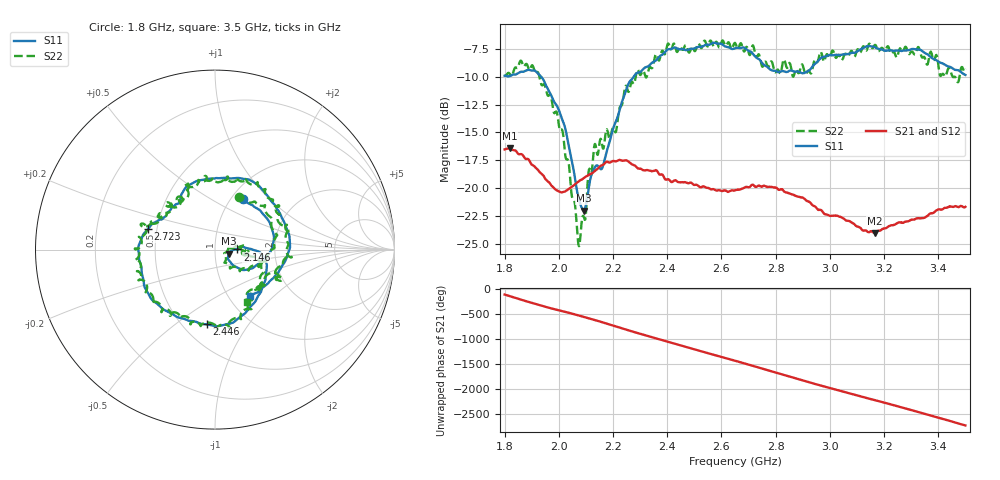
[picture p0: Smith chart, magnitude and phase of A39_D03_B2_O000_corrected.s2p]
! Created with skrf 1.9.0 (http://scikit-rf.org).
# Hz S RI R 50.0
!freq ReS11 ImS11 ReS21 ImS21 ReS12 ImS12 ReS22 ImS22
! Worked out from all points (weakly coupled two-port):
!   1601 points, 1.8 GHz to 3.5 GHz, reference 50 ohm
!   highest |S21| = -16.43 dB at 1.818 GHz (marker M1); lowest = -24.0 dB at 3.165 GHz (marker M2)
!   lowest |S11| = -22.0 dB at 2.092 GHz (marker M3), VSWR 1.17, Z = 58.2 - j2.69 ohm
!   |S11| at or under -10 dB: 1.935 GHz to 2.276 GHz (341.2 MHz wide, 16.2 % of centre)
!   |S22| runs from -25.2 to -6.7 dB; largest |S21 - S12| = 0.0027
!   S11 on the Smith chart (normalised r, x): 1.8 GHz: 1.13, +0.70; 2.146 GHz: 1.29, +0.00; 2.446 GHz: 0.65, -0.66; 2.723 GHz: 0.45, +0.12; 3.5 GHz: 1.26, -0.72
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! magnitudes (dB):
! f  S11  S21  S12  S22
! 1.8 GHz  -9.9  -16.5  -16.5  -9.9
! 1.818 GHz  -10.0  -16.4  -16.4  -9.7
! 1.903 GHz  -9.5  -17.9  -17.9  -9.0
! 1.968 GHz  -11.5  -19.6  -19.6  -11.6
! 2.015 GHz  -14.0  -20.3  -20.4  -15.0
! 2.072 GHz  -20.8  -19.4  -19.4  -25.0
! 2.084 GHz  -21.7  -19.2  -19.2  -23.2
! 2.092 GHz  -22.0  -19.1  -19.1  -22.6
! 2.112 GHz  -19.6  -18.8  -18.8  -18.3
! 2.146 GHz  -18.0  -18.2  -18.2  -16.7
! 2.209 GHz  -14.1  -17.6  -17.5  -15.0
! 2.259 GHz  -10.5  -17.6  -17.7  -11.3
! 2.367 GHz  -8.3  -18.6  -18.6  -8.5
! 2.446 GHz  -7.6  -19.5  -19.5  -7.3
! 2.65 GHz  -7.5  -20.2  -20.2  -7.0
! 2.723 GHz  -8.2  -19.8  -19.8  -7.8
! 2.802 GHz  -9.5  -19.9  -20.0  -9.5
! 2.934 GHz  -9.2  -21.5  -21.4  -9.6
! 3.165 GHz  -7.3  -24.0  -24.0  -7.2
! 3.217 GHz  -7.6  -23.4  -23.4  -7.4
! 3.468 GHz  -9.4  -21.6  -21.6  -10.3
! 3.5 GHz  -9.8  -21.7  -21.6  -9.3
